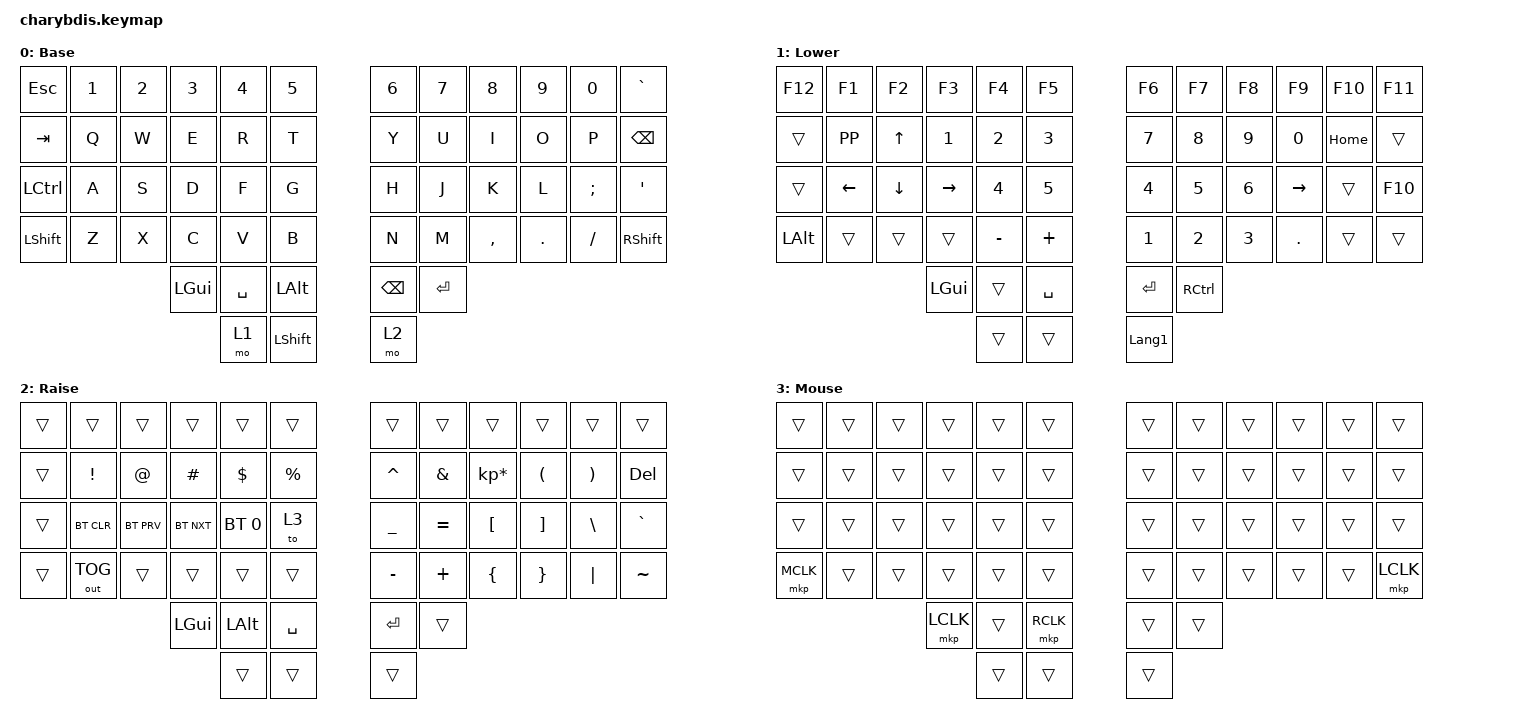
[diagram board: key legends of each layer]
#include <behaviors.dtsi>
#include <dt-bindings/zmk/keys.h>
#include <dt-bindings/zmk/bt.h>
#include <dt-bindings/zmk/mouse.h>
#include <dt-bindings/zmk/outputs.h>

/ {

  keymap {
    compatible = "zmk,keymap";

        Base {
            label = "Base";
            bindings = <
    &kp ESC     &kp N1  &kp N2  &kp N3     &kp N4      &kp N5                &kp N6   &kp N7  &kp N8     &kp N9   &kp N0    &kp GRAVE
    &kp TAB     &kp Q   &kp W   &kp E      &kp R       &kp T                 &kp Y    &kp U   &kp I      &kp O    &kp P     &kp BSPC
    &kp LCTRL   &kp A   &kp S   &kp D      &kp F       &kp G                 &kp H    &kp J   &kp K      &kp L    &kp SEMI  &kp APOS
    &kp LSHFT   &kp Z   &kp X   &kp C      &kp V       &kp B                 &kp N    &kp M   &kp COMMA  &kp DOT  &kp FSLH  &kp RSHIFT
                                &kp LGUI   &kp SPACE   &kp LEFT_ALT          &kp BSPC &kp RET
                                           &mo 1       &kp LSHIFT            &mo 2
            >;
            trackball-bindings = <&tmv_coarse>;
        };

        Lower {
            label = "Lower";
            bindings = <
    &kp F12         &kp F1      &kp F2      &kp F3      &kp F4      &kp F5               &kp F6     &kp F7    &kp F8     &kp F9   &kp F10    &kp F11
    &trans          &kp K_PP    &kp UP      &kp N1      &kp N2      &kp N3               &kp N7     &kp N8    &kp N9     &kp N0  &kp HOME   &trans
    &trans          &kp LEFT    &kp DOWN    &kp RIGHT   &kp N4      &kp N5               &kp N4     &kp N5    &kp N6  &kp RIGHT    &trans  &kp F10
    &kp LEFT_ALT    &trans      &trans      &trans      &kp MINUS   &kp PLUS             &kp N1     &kp N2    &kp N3    &kp DOT    &trans   &trans
                                            &kp LGUI    &trans      &kp SPACE            &kp RET  &kp RCTRL
                                                        &trans      &trans               &kp LANGUAGE_1
            >;F
            trackball-bindings = <&tmv_fine>;
        };

        Raise {
            label = "Raise";
            bindings = <
    &trans  &trans          &trans      &trans      &trans          &trans            &trans      &trans    &trans           &trans    &trans      &trans        
    &trans  &kp EXCL        &kp AT      &kp HASH    &kp DLLR        &kp PRCNT         &kp CARET   &kp AMPS  &kp KP_MULTIPLY  &kp LPAR  &kp RPAR    &kp DEL
    &trans  &bt BT_CLR      &bt BT_PRV  &bt BT_NXT  &bt BT_SEL 0    &to 3             &kp UNDER   &kp EQUAL         &kp LBKT  &kp RBKT  &kp BSLH  &kp GRAVE
    &trans  &out OUT_TOG    &trans      &trans      &trans          &trans            &kp MINUS   &kp PLUS         &kp LBRC  &kp RBRC  &kp PIPE  &kp TILDE
                                        &kp LGUI    &kp LEFT_ALT    &kp SPACE         &kp RET     &trans
                                                    &trans          &trans            &trans
            >;
            trackball-bindings = <&tsl_fine>;
        };

        Mouse {
            bindings = <
   &trans  &trans  &trans     &trans  &trans     &trans    &trans  &trans  &trans  &trans  &trans     &trans
   &trans  &trans  &trans     &trans  &trans     &trans    &trans  &trans  &trans  &trans  &trans     &trans
   &trans  &trans  &trans     &trans  &trans     &trans    &trans  &trans  &trans  &trans  &trans     &trans
&mkp MCLK  &trans  &trans     &trans  &trans     &trans    &trans  &trans  &trans  &trans  &trans  &mkp LCLK
                           &mkp LCLK  &trans  &mkp RCLK    &trans  &trans
                                      &trans     &trans    &trans
            >;
            trackball-bindings = <&tmv_fine>;
        };

    };
};
